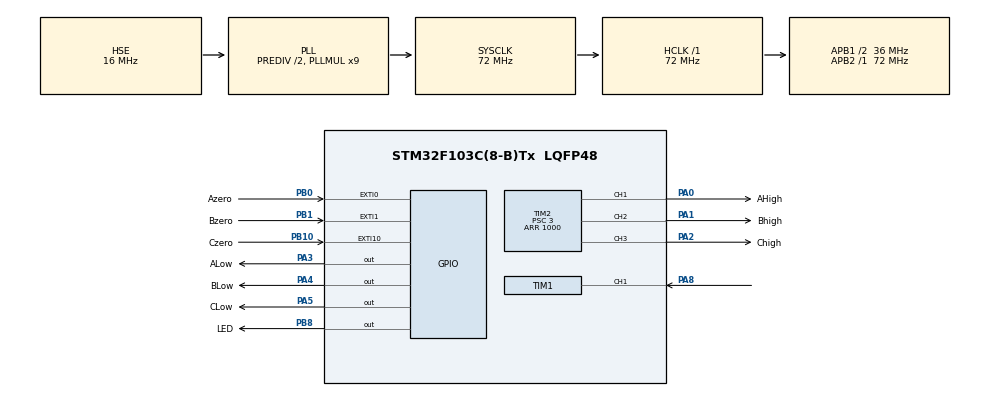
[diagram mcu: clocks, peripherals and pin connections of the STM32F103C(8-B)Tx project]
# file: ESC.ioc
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Mcu.Family=STM32F1
Mcu.Name=STM32F103C(8-B)Tx
Mcu.Package=LQFP48
NVIC.EXTI0_IRQn=true\:1\:0\:true\:false\:true\:true\:false
NVIC.EXTI15_10_IRQn=true\:1\:0\:true\:false\:true\:true\:false
NVIC.EXTI1_IRQn=true\:1\:0\:true\:false\:true\:true\:false
NVIC.PriorityGroup=NVIC_PRIORITYGROUP_4
NVIC.TIM3_IRQn=true\:2\:0\:true\:false\:true\:true\:false
PA0-WKUP.GPIO_Label=AHigh
PA0-WKUP.Signal=S_TIM2_CH1_ETR
PA1.GPIO_Label=Bhigh
PA1.Signal=S_TIM2_CH2
PA13.Mode=Trace_Asynchronous_SW
PA13.Signal=SYS_JTMS-SWDIO
PA14.Mode=Trace_Asynchronous_SW
PA14.Signal=SYS_JTCK-SWCLK
PA2.GPIO_Label=Chigh
PA2.Signal=S_TIM2_CH3
PA3.GPIO_Label=ALow
PA3.GPIO_Speed=GPIO_SPEED_FREQ_HIGH
PA3.Signal=GPIO_Output
PA4.GPIO_Label=BLow
PA4.GPIO_Speed=GPIO_SPEED_FREQ_HIGH
PA4.Signal=GPIO_Output
PA5.GPIO_Label=CLow
PA5.GPIO_Speed=GPIO_SPEED_FREQ_HIGH
PA5.Signal=GPIO_Output
PA8.Signal=S_TIM1_CH1
PB0.GPIO_Label=Azero
PB0.GPIO_ModeDefaultEXTI=GPIO_MODE_IT_RISING_FALLING
PB0.Signal=GPXTI0
PB1.GPIO_Label=Bzero
PB1.GPIO_ModeDefaultEXTI=GPIO_MODE_IT_RISING_FALLING
PB1.Signal=GPXTI1
PB10.GPIO_Label=Czero
PB10.GPIO_ModeDefaultEXTI=GPIO_MODE_IT_RISING_FALLING
PB10.Signal=GPXTI10
PB3.Mode=Trace_Asynchronous_SW
PB3.Signal=SYS_JTDO-TRACESWO
PB8.GPIO_Label=LED
PB8.Signal=GPIO_Output
PD0-OSC_IN.Mode=HSE-External-Oscillator
PD0-OSC_IN.Signal=RCC_OSC_IN
PD1-OSC_OUT.Mode=HSE-External-Oscillator
PD1-OSC_OUT.Signal=RCC_OSC_OUT
ProjectManager.HeapSize=0x200
ProjectManager.StackSize=0x400
ProjectManager.TargetToolchain=STM32CubeIDE
RCC.AHBFreq_Value=72000000
RCC.APB1CLKDivider=RCC_HCLK_DIV2
RCC.APB1Freq_Value=36000000
RCC.APB1TimFreq_Value=72000000
RCC.APB2Freq_Value=72000000
RCC.APB2TimFreq_Value=72000000
RCC.HCLKFreq_Value=72000000
RCC.HSEDivPLL=RCC_HSE_PREDIV_DIV2
RCC.HSE_VALUE=16000000
RCC.PLLMUL=RCC_PLL_MUL9
RCC.PLLSourceVirtual=RCC_PLLSOURCE_HSE
RCC.SYSCLKFreq_VALUE=72000000
RCC.SYSCLKSource=RCC_SYSCLKSOURCE_PLLCLK
RCC.USBFreq_Value=72000000
SH.S_TIM1_CH1.0=TIM1_CH1,PWM_Input_1
SH.S_TIM2_CH1_ETR.0=TIM2_CH1,PWM Generation1 CH1
SH.S_TIM2_CH2.0=TIM2_CH2,PWM Generation2 CH2
SH.S_TIM2_CH3.0=TIM2_CH3,PWM Generation3 CH3
TIM1.Period=65535
TIM1.Prescaler=71
TIM2.Channel-PWM\ Generation1\ CH1=TIM_CHANNEL_1
TIM2.Channel-PWM\ Generation2\ CH2=TIM_CHANNEL_2
TIM2.Channel-PWM\ Generation3\ CH3=TIM_CHANNEL_3
TIM2.Period=1000
TIM2.Prescaler=3
TIM3.Channel-Output\ Compare1\ No\ Output=TIM_CHANNEL_1
TIM3.Period=719
TIM3.Pulse-Output\ Compare1\ No\ Output=0
VP_TIM1_VS_ClockSourceINT.Mode=Internal
VP_TIM2_VS_ClockSourceINT.Mode=Internal
VP_TIM3_VS_no_output1.Mode=Output Compare1 No Output
board=custom

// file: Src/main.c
/* USER CODE BEGIN Header */
/**
  ******************************************************************************
  * @file           : main.c
  * @brief          : Main program body
  ******************************************************************************
  * @attention
  *
  * <h2><center>&copy; Copyright (c) 2019 STMicroelectronics.
  * All rights reserved.</center></h2>
  *
  * This software component is licensed by ST under BSD 3-Clause license,
  * the "License"; You may not use this file except in compliance with the
  * License. You may obtain a copy of the License at:
  *                        opensource.org/licenses/BSD-3-Clause
  *
  ******************************************************************************
  */
/* USER CODE END Header */

#include "main.h"

/* USER CODE BEGIN Includes */
#include "funkcije.h"
/* USER CODE END Includes */

TIM_HandleTypeDef htim1;
TIM_HandleTypeDef htim2;
TIM_HandleTypeDef htim3;

/* USER CODE BEGIN PV */
uint32_t watchState0;
uint32_t watchState1;
uint32_t watchState2;
uint32_t watchState3;
uint32_t watchState4;
uint32_t watchState5;

uint32_t watchState0Err;
uint32_t watchState1Err;
uint32_t watchState2Err;
uint32_t watchState3Err;
uint32_t watchState4Err;
uint32_t watchState5Err;

uint32_t watchState;

uint32_t watch1;
uint32_t watch2;
uint32_t watch3;
uint32_t watchArray[1000];
uint32_t MainLoop;
uint32_t TimeHist;
/* USER CODE END PV */

void SystemClock_Config(void);
static void MX_GPIO_Init(void);
static void MX_TIM1_Init(void);
static void MX_TIM2_Init(void);
static void MX_TIM3_Init(void);
/* USER CODE BEGIN PFP */
void ITMstringSend(char *ptr, int len);
/* USER CODE END PFP */

int main(void)
{
  /* USER CODE BEGIN 1 */

	//enable DWT counter
	DWT->CYCCNT = 0;
	DWT->CTRL |= 1;
  /* USER CODE END 1 */

  /* MCU Configuration--------------------------------------------------------*/

  /* Reset of all peripherals, Initializes the Flash interface and the Systick. */
  HAL_Init();

  /* Configure the system clock */
  SystemClock_Config();

  /* Initialize all configured peripherals */
  MX_GPIO_Init();
  MX_TIM1_Init();
  MX_TIM2_Init();
  MX_TIM3_Init();
  /* USER CODE BEGIN 2 */
  ALowOFF;
  BLowOFF;
  CLowOFF;
  HAL_TIM_IC_Start(&htim1, TIM_CHANNEL_1);
  HAL_TIM_IC_Start(&htim1, TIM_CHANNEL_2);
  HAL_TIM_Base_Start_IT(&htim3);

  HAL_TIM_PWM_Start(&htim2, TIM_CHANNEL_1);
  HAL_TIM_PWM_Start(&htim2, TIM_CHANNEL_2);
  HAL_TIM_PWM_Start(&htim2, TIM_CHANNEL_3);
  /* USER CODE END 2 */

  /* Infinite loop */
  while (1)
  {

    /* USER CODE BEGIN 3 */

	  //printf("TEST=%u \n",watch1);

	  //Testing of sending string to through SWO-------------------------------------
	  //Both work, first is more direct way without calling multiple functions
	  //printf is buffered needs /n or flush(stdout) to transfer buffer to write function
	  //Flush buffer using function or Flush buffer using /n
	  //printf("tester%u",watch1);
	  //fflush(stdout);
	  //ITMstringSend("Hello\n\r",7); //more direct approach

	  MainLoop++;
	  HAL_Delay(100);

	   //Small delay implementation 72 cycles with uP clock->1us
	   //TimeHist=DWT->CYCCNT;
	   //while((DWT->CYCCNT-TimeHist)<72){}
  }

  /* USER CODE END 3 */
}

void SystemClock_Config(void)
{
  RCC_OscInitTypeDef RCC_OscInitStruct = {0};
  RCC_ClkInitTypeDef RCC_ClkInitStruct = {0};

  /** Initializes the CPU, AHB and APB busses clocks
  */
  RCC_OscInitStruct.OscillatorType = RCC_OSCILLATORTYPE_HSE;
  RCC_OscInitStruct.HSEState = RCC_HSE_ON;
  RCC_OscInitStruct.HSEPredivValue = RCC_HSE_PREDIV_DIV2;
  RCC_OscInitStruct.HSIState = RCC_HSI_ON;
  RCC_OscInitStruct.PLL.PLLState = RCC_PLL_ON;
  RCC_OscInitStruct.PLL.PLLSource = RCC_PLLSOURCE_HSE;
  RCC_OscInitStruct.PLL.PLLMUL = RCC_PLL_MUL9;
  if (HAL_RCC_OscConfig(&RCC_OscInitStruct) != HAL_OK)
  {
    Error_Handler();
  }
  /** Initializes the CPU, AHB and APB busses clocks
  */
  RCC_ClkInitStruct.ClockType = RCC_CLOCKTYPE_HCLK|RCC_CLOCKTYPE_SYSCLK
                              |RCC_CLOCKTYPE_PCLK1|RCC_CLOCKTYPE_PCLK2;
  RCC_ClkInitStruct.SYSCLKSource = RCC_SYSCLKSOURCE_PLLCLK;
  RCC_ClkInitStruct.AHBCLKDivider = RCC_SYSCLK_DIV1;
  RCC_ClkInitStruct.APB1CLKDivider = RCC_HCLK_DIV2;
  RCC_ClkInitStruct.APB2CLKDivider = RCC_HCLK_DIV1;

  if (HAL_RCC_ClockConfig(&RCC_ClkInitStruct, FLASH_LATENCY_2) != HAL_OK)
  {
    Error_Handler();
  }
}

static void MX_TIM1_Init(void)
{

  TIM_ClockConfigTypeDef sClockSourceConfig = {0};
  TIM_SlaveConfigTypeDef sSlaveConfig = {0};
  TIM_IC_InitTypeDef sConfigIC = {0};
  TIM_MasterConfigTypeDef sMasterConfig = {0};

  htim1.Instance = TIM1;
  htim1.Init.Prescaler = 71;
  htim1.Init.CounterMode = TIM_COUNTERMODE_UP;
  htim1.Init.Period = 65535;
  htim1.Init.ClockDivision = TIM_CLOCKDIVISION_DIV1;
  htim1.Init.RepetitionCounter = 0;
  htim1.Init.AutoReloadPreload = TIM_AUTORELOAD_PRELOAD_DISABLE;
  if (HAL_TIM_Base_Init(&htim1) != HAL_OK)
  {
    Error_Handler();
  }
  sClockSourceConfig.ClockSource = TIM_CLOCKSOURCE_INTERNAL;
  if (HAL_TIM_ConfigClockSource(&htim1, &sClockSourceConfig) != HAL_OK)
  {
    Error_Handler();
  }
  if (HAL_TIM_IC_Init(&htim1) != HAL_OK)
  {
    Error_Handler();
  }
  sSlaveConfig.SlaveMode = TIM_SLAVEMODE_RESET;
  sSlaveConfig.InputTrigger = TIM_TS_TI1FP1;
  sSlaveConfig.TriggerPolarity = TIM_INPUTCHANNELPOLARITY_RISING;
  sSlaveConfig.TriggerPrescaler = TIM_ICPSC_DIV1;
  sSlaveConfig.TriggerFilter = 0;
  if (HAL_TIM_SlaveConfigSynchro(&htim1, &sSlaveConfig) != HAL_OK)
  {
    Error_Handler();
  }
  sConfigIC.ICPolarity = TIM_INPUTCHANNELPOLARITY_RISING;
  sConfigIC.ICSelection = TIM_ICSELECTION_DIRECTTI;
  sConfigIC.ICPrescaler = TIM_ICPSC_DIV1;
  sConfigIC.ICFilter = 0;
  if (HAL_TIM_IC_ConfigChannel(&htim1, &sConfigIC, TIM_CHANNEL_1) != HAL_OK)
  {
    Error_Handler();
  }
  sConfigIC.ICPolarity = TIM_INPUTCHANNELPOLARITY_FALLING;
  sConfigIC.ICSelection = TIM_ICSELECTION_INDIRECTTI;
  if (HAL_TIM_IC_ConfigChannel(&htim1, &sConfigIC, TIM_CHANNEL_2) != HAL_OK)
  {
    Error_Handler();
  }
  sMasterConfig.MasterOutputTrigger = TIM_TRGO_RESET;
  sMasterConfig.MasterSlaveMode = TIM_MASTERSLAVEMODE_DISABLE;
  if (HAL_TIMEx_MasterConfigSynchronization(&htim1, &sMasterConfig) != HAL_OK)
  {
    Error_Handler();
  }

}

static void MX_TIM2_Init(void)
{

  TIM_ClockConfigTypeDef sClockSourceConfig = {0};
  TIM_MasterConfigTypeDef sMasterConfig = {0};
  TIM_OC_InitTypeDef sConfigOC = {0};

  htim2.Instance = TIM2;
  htim2.Init.Prescaler = 3;
  htim2.Init.CounterMode = TIM_COUNTERMODE_UP;
  htim2.Init.Period = 1000;
  htim2.Init.ClockDivision = TIM_CLOCKDIVISION_DIV1;
  htim2.Init.AutoReloadPreload = TIM_AUTORELOAD_PRELOAD_DISABLE;
  if (HAL_TIM_Base_Init(&htim2) != HAL_OK)
  {
    Error_Handler();
  }
  sClockSourceConfig.ClockSource = TIM_CLOCKSOURCE_INTERNAL;
  if (HAL_TIM_ConfigClockSource(&htim2, &sClockSourceConfig) != HAL_OK)
  {
    Error_Handler();
  }
  if (HAL_TIM_PWM_Init(&htim2) != HAL_OK)
  {
    Error_Handler();
  }
  sMasterConfig.MasterOutputTrigger = TIM_TRGO_RESET;
  sMasterConfig.MasterSlaveMode = TIM_MASTERSLAVEMODE_DISABLE;
  if (HAL_TIMEx_MasterConfigSynchronization(&htim2, &sMasterConfig) != HAL_OK)
  {
    Error_Handler();
  }
  sConfigOC.OCMode = TIM_OCMODE_PWM1;
  sConfigOC.Pulse = 0;
  sConfigOC.OCPolarity = TIM_OCPOLARITY_HIGH;
  sConfigOC.OCFastMode = TIM_OCFAST_DISABLE;
  if (HAL_TIM_PWM_ConfigChannel(&htim2, &sConfigOC, TIM_CHANNEL_1) != HAL_OK)
  {
    Error_Handler();
  }
  if (HAL_TIM_PWM_ConfigChannel(&htim2, &sConfigOC, TIM_CHANNEL_2) != HAL_OK)
  {
    Error_Handler();
  }
  if (HAL_TIM_PWM_ConfigChannel(&htim2, &sConfigOC, TIM_CHANNEL_3) != HAL_OK)
  {
    Error_Handler();
  }
  HAL_TIM_MspPostInit(&htim2);

}

static void MX_TIM3_Init(void)
{

  TIM_MasterConfigTypeDef sMasterConfig = {0};
  TIM_OC_InitTypeDef sConfigOC = {0};

  htim3.Instance = TIM3;
  htim3.Init.Prescaler = 0;
  htim3.Init.CounterMode = TIM_COUNTERMODE_UP;
  htim3.Init.Period = 719;
  htim3.Init.ClockDivision = TIM_CLOCKDIVISION_DIV1;
  htim3.Init.AutoReloadPreload = TIM_AUTORELOAD_PRELOAD_DISABLE;
  if (HAL_TIM_OC_Init(&htim3) != HAL_OK)
  {
    Error_Handler();
  }
  sMasterConfig.MasterOutputTrigger = TIM_TRGO_RESET;
  sMasterConfig.MasterSlaveMode = TIM_MASTERSLAVEMODE_DISABLE;
  if (HAL_TIMEx_MasterConfigSynchronization(&htim3, &sMasterConfig) != HAL_OK)
  {
    Error_Handler();
  }
  sConfigOC.OCMode = TIM_OCMODE_TIMING;
  sConfigOC.Pulse = 0;
  sConfigOC.OCPolarity = TIM_OCPOLARITY_HIGH;
  sConfigOC.OCFastMode = TIM_OCFAST_DISABLE;
  if (HAL_TIM_OC_ConfigChannel(&htim3, &sConfigOC, TIM_CHANNEL_1) != HAL_OK)
  {
    Error_Handler();
  }

}

static void MX_GPIO_Init(void)
{
  GPIO_InitTypeDef GPIO_InitStruct = {0};

  /* GPIO Ports Clock Enable */
  __HAL_RCC_GPIOD_CLK_ENABLE();
  __HAL_RCC_GPIOA_CLK_ENABLE();
  __HAL_RCC_GPIOB_CLK_ENABLE();

  /*Configure GPIO pin Output Level */
  HAL_GPIO_WritePin(GPIOA, ALow_Pin|BLow_Pin|CLow_Pin, GPIO_PIN_RESET);

  /*Configure GPIO pin Output Level */
  HAL_GPIO_WritePin(LED_GPIO_Port, LED_Pin, GPIO_PIN_RESET);

  /*Configure GPIO pins : ALow_Pin BLow_Pin CLow_Pin */
  GPIO_InitStruct.Pin = ALow_Pin|BLow_Pin|CLow_Pin;
  GPIO_InitStruct.Mode = GPIO_MODE_OUTPUT_PP;
  GPIO_InitStruct.Pull = GPIO_NOPULL;
  GPIO_InitStruct.Speed = GPIO_SPEED_FREQ_HIGH;
  HAL_GPIO_Init(GPIOA, &GPIO_InitStruct);

  /*Configure GPIO pins : Azero_Pin Bzero_Pin Czero_Pin */
  GPIO_InitStruct.Pin = Azero_Pin|Bzero_Pin|Czero_Pin;
  GPIO_InitStruct.Mode = GPIO_MODE_IT_RISING_FALLING;
  GPIO_InitStruct.Pull = GPIO_NOPULL;
  HAL_GPIO_Init(GPIOB, &GPIO_InitStruct);

  /*Configure GPIO pin : LED_Pin */
  GPIO_InitStruct.Pin = LED_Pin;
  GPIO_InitStruct.Mode = GPIO_MODE_OUTPUT_PP;
  GPIO_InitStruct.Pull = GPIO_NOPULL;
  GPIO_InitStruct.Speed = GPIO_SPEED_FREQ_LOW;
  HAL_GPIO_Init(LED_GPIO_Port, &GPIO_InitStruct);

  /* EXTI interrupt init*/
  HAL_NVIC_SetPriority(EXTI0_IRQn, 1, 0);
  HAL_NVIC_EnableIRQ(EXTI0_IRQn);

  HAL_NVIC_SetPriority(EXTI1_IRQn, 1, 0);
  HAL_NVIC_EnableIRQ(EXTI1_IRQn);

  HAL_NVIC_SetPriority(EXTI15_10_IRQn, 1, 0);
  HAL_NVIC_EnableIRQ(EXTI15_10_IRQn);

}

/* USER CODE BEGIN 4 */

void ITMstringSend(char *ptr, int len) //more Human and efficiennt direct sending to SWV
{
  int i=0;
  for(i=0 ; i<len ; i++)
    ITM_SendChar((*ptr++));
}

void __io_putchar(char value) //implementation of function from syscall.c to be used in _write function to be used in printf
{
	ITM_SendChar(value);
}

/* USER CODE END 4 */

void Error_Handler(void)
{
}

/************************ (C) COPYRIGHT STMicroelectronics *****END OF FILE****/
